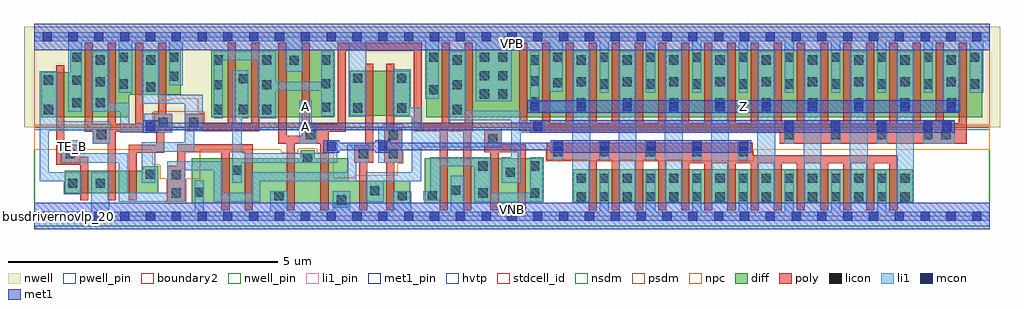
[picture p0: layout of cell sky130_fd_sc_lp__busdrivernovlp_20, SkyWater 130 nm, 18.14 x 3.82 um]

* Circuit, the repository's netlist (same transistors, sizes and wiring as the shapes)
* Copyright 2020 The SkyWater PDK Authors
*
* Licensed under the Apache License, Version 2.0 (the "License");
* you may not use this file except in compliance with the License.
* You may obtain a copy of the License at
*
*     https://www.apache.org/licenses/LICENSE-2.0
*
* Unless required by applicable law or agreed to in writing, software
* distributed under the License is distributed on an "AS IS" BASIS,
* WITHOUT WARRANTIES OR CONDITIONS OF ANY KIND, either express or implied.
* See the License for the specific language governing permissions and
* limitations under the License.
*
* SPDX-License-Identifier: Apache-2.0

.SUBCKT sky130_fd_sc_lp__busdrivernovlp_20 A TE_B VGND VNB VPB VPWR Z
*.PININFO A:I TE_B:I VGND:I VNB:I VPB:I VPWR:I Z:O
MI28 TE TE_B VGND VNB sky130_fd_pr__nfet_01v8 m=1 w=0.42U l=0.15U mult=1 sa=0.265
+ sb=0.265 sd=0.28 area=0.063 perim=1.14
MMN1 Z net89 VGND VNB sky130_fd_pr__nfet_01v8 m=14 w=0.64U l=0.15U mult=1 sa=0.265
+ sb=0.265 sd=0.28 area=0.063 perim=1.14
MI26 net89 TE_B VGND VNB sky130_fd_pr__nfet_01v8 m=2 w=0.84U l=0.15U mult=1 sa=0.265
+ sb=0.265 sd=0.28 area=0.063 perim=1.14
MI25 net89 A VGND VNB sky130_fd_pr__nfet_01v8 m=2 w=0.84U l=0.15U mult=1 sa=0.265
+ sb=0.265 sd=0.28 area=0.063 perim=1.14
MI24 net61 A VGND VNB sky130_fd_pr__nfet_01v8 m=2 w=0.84U l=0.15U mult=1 sa=0.265
+ sb=0.265 sd=0.28 area=0.063 perim=1.14
MI23 net57 net58 net61 VNB sky130_fd_pr__nfet_01v8 m=2 w=0.84U l=0.15U mult=1 sa=0.265
+ sb=0.265 sd=0.28 area=0.063 perim=1.14
MI22 net58 TE_B VGND VNB sky130_fd_pr__nfet_01v8 m=1 w=0.42U l=0.15U mult=1 sa=0.265
+ sb=0.265 sd=0.28 area=0.063 perim=1.14
MI21 net58 net89 VGND VNB sky130_fd_pr__nfet_01v8 m=1 w=0.42U l=0.15U mult=1 sa=0.265
+ sb=0.265 sd=0.28 area=0.063 perim=1.14
MI13 net90 net57 net44 VNB sky130_fd_pr__nfet_01v8 m=1 w=0.42U l=0.15U mult=1 sa=0.265
+ sb=0.265 sd=0.28 area=0.063 perim=1.14
MI14 net44 TE VGND VNB sky130_fd_pr__nfet_01v8 m=1 w=0.42U l=0.15U mult=1 sa=0.265
+ sb=0.265 sd=0.28 area=0.063 perim=1.14
MMP0 Z net57 VPWR VPB sky130_fd_pr__pfet_01v8_hvt m=20 w=1.26U l=0.15U mult=1 sa=0.265
+ sb=0.265 sd=0.28 area=0.063 perim=1.14
MI27 TE TE_B VPWR VPB sky130_fd_pr__pfet_01v8_hvt m=1 w=0.84U l=0.15U mult=1 sa=0.265
+ sb=0.265 sd=0.28 area=0.063 perim=1.14
MI11 net90 net57 VPWR VPB sky130_fd_pr__pfet_01v8_hvt m=1 w=0.84U l=0.15U mult=1
+ sa=0.265 sb=0.265 sd=0.28 area=0.063 perim=1.14
MI20 net58 net89 net100 VPB sky130_fd_pr__pfet_01v8_hvt m=1 w=0.84U l=0.15U mult=1
+ sa=0.265 sb=0.265 sd=0.28 area=0.063 perim=1.14
MI19 net100 TE_B VPWR VPB sky130_fd_pr__pfet_01v8_hvt m=1 w=0.84U l=0.15U mult=1
+ sa=0.265 sb=0.265 sd=0.28 area=0.063 perim=1.14
MI10 net57 A VPWR VPB sky130_fd_pr__pfet_01v8_hvt m=2 w=1.26U l=0.15U mult=1 sa=0.265
+ sb=0.265 sd=0.28 area=0.063 perim=1.14
MI18 net89 net90 net88 VPB sky130_fd_pr__pfet_01v8_hvt m=2 w=1.26U l=0.15U mult=1
+ sa=0.265 sb=0.265 sd=0.28 area=0.063 perim=1.14
MI17 net88 A VPWR VPB sky130_fd_pr__pfet_01v8_hvt m=2 w=1.26U l=0.15U mult=1 sa=0.265
+ sb=0.265 sd=0.28 area=0.063 perim=1.14
MI12 net90 TE VPWR VPB sky130_fd_pr__pfet_01v8_hvt m=1 w=0.84U l=0.15U mult=1 sa=0.265
+ sb=0.265 sd=0.28 area=0.063 perim=1.14
MI9 net57 TE VPWR VPB sky130_fd_pr__pfet_01v8_hvt m=2 w=1.26U l=0.15U mult=1 sa=0.265
+ sb=0.265 sd=0.28 area=0.063 perim=1.14
.ENDS sky130_fd_sc_lp__busdrivernovlp_20

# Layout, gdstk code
import gdstk
lib = gdstk.Library(unit=1e-6, precision=1e-09)
def R(c, l, rs):  # rectangles x0, y0, x1, y1
    for r in rs: c.add(gdstk.rectangle(r[:2], r[2:], *l))
def A(c, l, x, y, w, h, nx, ny, dx, dy):  # array of equal rectangles
    R(c, l, [(x+i*dx, y+j*dy, x+i*dx+w, y+j*dy+h) for i in range(nx) for j in range(ny)])
def P(c, l, *ps):  # polygons
    for p in ps: c.add(gdstk.Polygon(p, *l))
nwell_pin = (64, 16)
nwell = (64, 20)
diff = (65, 20)
poly = (66, 20)
licon = (66, 44)
li1_pin = (67, 16)
li1 = (67, 20)
mcon = (67, 44)
met1_pin = (68, 16)
met1 = (68, 20)
hvtp = (78, 44)
stdcell_id = (81, 4)
nsdm = (93, 44)
psdm = (94, 20)
npc = (95, 20)
pwell_pin = (122, 16)
boundary2 = (236, 0)

sky130_fd_sc_lp__busdriv = lib.new_cell('sky130_fd_sc_lp__busdrivernovlp_20')
R(sky130_fd_sc_lp__busdriv, nwell_pin, [(0,3.085,17.76,3.33)])
R(sky130_fd_sc_lp__busdriv, nwell, [(-0.19,1.655,17.95,3.52), (7.105,1.655,17.8,3.275)])
R(sky130_fd_sc_lp__busdriv, diff, [(7.255,0.235,9.45,1.075), (10.02,0.235,16.33,0.875), (3.29,1.835,5.565,3.095), (7.285,1.835,17.62,3.095), (5.865,1.865,6.975,2.705)])
P(sky130_fd_sc_lp__busdriv, diff, [(2.305,0.925),(2.015,0.925),(2.015,0.845),(0.57,0.845),(0.57,0.425),(2.305,0.425)],
  [(2.725,3.095),(0.665,3.095),(0.665,2.675),(0.135,2.675),(0.135,1.835),(1.765,1.835),(1.765,2.255),(2.725,2.255)],
  [(6.985,0.655),(5.84,0.655),(5.84,1.075),(5.21,1.075),(5.21,1.225),(4.95,1.225),(4.95,1.075),(2.925,1.075),(2.925,0.235),(5.58,0.235),(5.58,0.155),(5.84,0.155),(5.84,0.235),(6.985,0.235)])
P(sky130_fd_sc_lp__busdriv, poly, [(1.005,1.105),(0.835,1.105),(0.835,1.325),(0.555,1.325),(0.555,2.805),(0.405,2.805),(0.405,0.955),(0.855,0.955),(0.855,0.295),(1.005,0.295)],
  [(2.025,3.225),(1.875,3.225),(1.875,1.715),(1.515,1.715),(1.515,3.225),(1.365,3.225),(1.365,1.715),(1.085,1.715),(1.085,3.225),(0.935,3.225),(0.935,1.565),(1.085,1.565),(1.085,1.345),(1.365,1.345),(1.365,0.295),(1.515,0.295),(1.515,1.565),(2.025,1.565)],
  [(2.565,1.905),(2.455,1.905),(2.455,3.225),(2.305,3.225),(2.305,1.905),(2.235,1.905),(2.235,1.575),(2.265,1.575),(2.265,1.325),(1.755,1.325),(1.755,0.295),(1.905,0.295),(1.905,1.175),(2.415,1.175),(2.415,1.575),(2.565,1.575)],
  [(4.06,1.335),(2.655,1.335),(2.655,0.935),(2.475,0.935),(2.475,0.265),(2.805,0.265),(2.805,1.185),(3.48,1.185),(3.48,0.105),(3.63,0.105),(3.63,1.185),(3.91,1.185),(3.91,0.105),(4.06,0.105)],
  [(4.18,3.225),(4.03,3.225),(4.03,1.725),(3.75,1.725),(3.75,3.225),(3.6,3.225),(3.6,1.725),(3.13,1.725),(3.13,1.905),(2.8,1.905),(2.8,1.575),(4.18,1.575)],
  [(6.3,2.835),(6.15,2.835),(6.15,1.325),(5.95,1.325),(5.95,0.995),(6.04,0.995),(6.04,0.105),(6.19,0.105),(6.19,0.995),(6.3,0.995)],
  [(6.84,1.665),(6.69,1.665),(6.69,2.835),(6.54,2.835),(6.54,1.665),(6.51,1.665),(6.51,0.995),(6.54,0.995),(6.54,0.105),(6.69,0.105),(6.69,0.995),(6.84,0.995)],
  [(8.15,3.225),(8,3.225),(8,1.725),(7.72,1.725),(7.72,3.225),(7.57,3.225),(7.57,1.725),(7.2,1.725),(7.2,3.225),(5.64,3.225),(5.64,1.715),(5.12,1.715),(5.12,3.225),(4.97,3.225),(4.97,1.495),(4.69,1.495),(4.69,3.225),(4.54,3.225),(4.54,1.345),(4.69,1.345),(4.69,0.105),(4.84,0.105),(4.84,1.345),(5.32,1.345),(5.32,0.105),(5.47,0.105),(5.47,1.565),(5.79,1.565),(5.79,3.075),(7.05,3.075),(7.05,1.575),(7.54,1.575),(7.54,0.105),(7.69,0.105),(7.69,1.575),(7.97,1.575),(7.97,0.105),(8.12,0.105),(8.12,1.575),(8.15,1.575)],
  [(9.14,1.335),(8.69,1.335),(8.69,1.605),(8.36,1.605),(8.36,1.185),(8.48,1.185),(8.48,0.105),(8.63,0.105),(8.63,1.185),(8.99,1.185),(8.99,0.105),(9.14,0.105)],
  [(16.045,1.135),(13.35,1.135),(13.35,1.365),(9.525,1.365),(9.525,1.035),(10.305,1.035),(10.305,0.105),(10.455,0.105),(10.455,1.035),(10.735,1.035),(10.735,0.105),(10.885,0.105),(10.885,1.035),(11.165,1.035),(11.165,0.105),(11.315,0.105),(11.315,1.035),(11.595,1.035),(11.595,0.105),(11.745,0.105),(11.745,1.035),(12.025,1.035),(12.025,0.105),(12.175,0.105),(12.175,0.985),(12.455,0.985),(12.455,0.105),(12.605,0.105),(12.605,0.985),(12.885,0.985),(12.885,0.105),(13.035,0.105),(13.035,0.985),(13.315,0.985),(13.315,0.105),(13.465,0.105),(13.465,0.985),(13.745,0.985),(13.745,0.105),(13.895,0.105),(13.895,0.985),(14.175,0.985),(14.175,0.105),(14.325,0.105),(14.325,0.985),(14.605,0.985),(14.605,0.105),(14.755,0.105),(14.755,0.985),(15.035,0.985),(15.035,0.105),(15.185,0.105),(15.185,0.985),(15.465,0.985),(15.465,0.105),(15.615,0.105),(15.615,0.985),(15.895,0.985),(15.895,0.105),(16.045,0.105)],
  [(17.335,3.225),(17.185,3.225),(17.185,1.725),(16.905,1.725),(16.905,3.225),(16.755,3.225),(16.755,1.725),(16.475,1.725),(16.475,3.225),(16.325,3.225),(16.325,1.725),(16.045,1.725),(16.045,3.225),(15.895,3.225),(15.895,1.725),(15.615,1.725),(15.615,3.225),(15.465,3.225),(15.465,1.725),(15.185,1.725),(15.185,3.225),(15.035,3.225),(15.035,1.725),(14.755,1.725),(14.755,3.225),(14.605,3.225),(14.605,1.725),(14.325,1.725),(14.325,3.225),(14.175,3.225),(14.175,1.725),(13.895,1.725),(13.895,3.225),(13.745,3.225),(13.745,1.725),(13.465,1.725),(13.465,3.225),(13.315,3.225),(13.315,1.725),(13.035,1.725),(13.035,3.225),(12.885,3.225),(12.885,1.725),(12.605,1.725),(12.605,3.225),(12.455,3.225),(12.455,1.725),(12.175,1.725),(12.175,3.225),(12.025,3.225),(12.025,1.725),(11.745,1.725),(11.745,3.225),(11.595,3.225),(11.595,1.725),(11.315,1.725),(11.315,3.225),(11.165,3.225),(11.165,1.725),(10.885,1.725),(10.885,3.225),(10.735,3.225),(10.735,1.725),(10.455,1.725),(10.455,3.225),(10.305,3.225),(10.305,1.725),(10.025,1.725),(10.025,3.225),(9.875,3.225),(9.875,1.725),(9.595,1.725),(9.595,3.225),(9.445,3.225),(9.445,1.725),(9.165,1.725),(9.165,3.225),(9.015,3.225),(9.015,1.575),(13.86,1.575),(13.86,1.345),(17.335,1.345)])
A(sky130_fd_sc_lp__busdriv, licon, 10.08, 0.275, 0.17, 0.17, 15, 2, 0.43, 0.34)
A(sky130_fd_sc_lp__busdriv, licon, 13.94, 1.425, 0.17, 0.17, 4, 1, 0.86, 0)
A(sky130_fd_sc_lp__busdriv, licon, 3.335, 1.895, 0.17, 0.17, 1, 3, 0, 0.46)
A(sky130_fd_sc_lp__busdriv, licon, 4.235, 1.895, 0.17, 0.17, 1, 3, 0, 0.46)
A(sky130_fd_sc_lp__busdriv, licon, 7.775, 1.895, 0.17, 0.17, 1, 3, 0, 0.46)
A(sky130_fd_sc_lp__busdriv, licon, 5.335, 1.935, 0.17, 0.17, 1, 3, 0, 0.44)
A(sky130_fd_sc_lp__busdriv, licon, 10.08, 2.02, 0.17, 0.17, 9, 2, 0.86, 0.395)
A(sky130_fd_sc_lp__busdriv, licon, 8.285, 2.185, 0.17, 0.17, 1, 3, 0, 0.34)
A(sky130_fd_sc_lp__busdriv, licon, 8.625, 2.185, 0.17, 0.17, 1, 3, 0, 0.34)
A(sky130_fd_sc_lp__busdriv, licon, 10.51, 2.37, 0.17, 0.17, 9, 1, 0.86, 0)
A(sky130_fd_sc_lp__busdriv, licon, 9.22, 2.815, 0.17, 0.17, 10, 1, 0.86, 0)
A(sky130_fd_sc_lp__busdriv, licon, 9.65, 2.865, 0.17, 0.17, 10, 1, 0.86, 0)
R(sky130_fd_sc_lp__busdriv, licon, [(5.625,0.215,5.795,0.385), (4.465,0.295,4.635,0.465), (6.755,0.295,6.925,0.465), (7.315,0.295,7.485,0.465), (2.555,0.345,2.725,0.515), (8.255,0.345,8.425,0.515), (9.22,0.345,9.39,0.515), (2.985,0.355,3.155,0.525), (6.245,0.385,6.415,0.555), (7.745,0.395,7.915,0.565), (0.63,0.525,0.8,0.695), (1.14,0.525,1.31,0.695), (2.555,0.685,2.725,0.855), (2.075,0.695,2.245,0.865), (8.765,0.73,8.935,0.9), (3.685,0.77,3.855,0.94), (8.255,0.845,8.425,1.015), (9.22,0.845,9.39,1.015), (4.995,0.995,5.165,1.165), (0.585,1.075,0.755,1.245), (6.03,1.075,6.2,1.245), (6.59,1.075,6.76,1.245), (9.66,1.115,9.83,1.285), (10.52,1.115,10.69,1.285), (11.36,1.115,11.53,1.285), (12.24,1.115,12.41,1.285), (13.1,1.115,13.27,1.285), (8.44,1.355,8.61,1.525), (6.59,1.415,6.76,1.585), (1.165,1.425,1.335,1.595), (5.05,1.425,5.22,1.595), (16.86,1.425,17.03,1.595), (2.315,1.655,2.485,1.825), (2.88,1.655,3.05,1.825), (0.18,1.895,0.35,2.065), (3.805,1.895,3.975,2.065), (5.925,1.925,6.095,2.095), (6.745,1.925,6.915,2.095), (0.71,2.02,0.88,2.19), (1.14,2.02,1.31,2.19), (9.22,2.04,9.39,2.21), (7.345,2.265,7.515,2.435), (2.08,2.315,2.25,2.485), (1.57,2.37,1.74,2.54), (9.65,2.39,9.82,2.56), (1.14,2.415,1.31,2.585), (9.22,2.425,9.39,2.595), (0.71,2.44,0.88,2.61), (0.18,2.445,0.35,2.615), (3.805,2.465,3.975,2.635), (5.925,2.475,6.095,2.645), (6.745,2.475,6.915,2.645), (2.51,2.515,2.68,2.685), (4.745,2.81,4.915,2.98), (1.14,2.815,1.31,2.985), (2.08,2.815,2.25,2.985), (0.71,2.865,0.88,3.035), (1.57,2.865,1.74,3.035), (2.51,2.865,2.68,3.035), (7.345,2.865,7.515,3.035)])
R(sky130_fd_sc_lp__busdriv, li1_pin, [(0.635,1.21,0.805,1.38), (4.955,1.58,5.125,1.75), (4.955,1.95,5.125,2.12)])
A(sky130_fd_sc_lp__busdriv, li1, 10.51, 0.025, 0.17, 0.84, 7, 1, 0.86, 0)
A(sky130_fd_sc_lp__busdriv, li1, 10, 0.255, 0.33, 1.855, 6, 1, 0.86, 0)
A(sky130_fd_sc_lp__busdriv, li1, 9.64, 1.035, 0.19, 0.375, 4, 1, 0.86, 0)
A(sky130_fd_sc_lp__busdriv, li1, 13.94, 1.345, 0.19, 0.415, 3, 1, 0.86, 0)
A(sky130_fd_sc_lp__busdriv, li1, 10.86, 1.94, 0.33, 1.125, 8, 1, 0.86, 0)
R(sky130_fd_sc_lp__busdriv, li1, [(16.02,0.255,16.35,2.11), (15.16,0.26,15.49,2.11), (6.395,0.995,6.84,1.665), (10.5,1.035,10.69,1.405), (12.22,1.035,12.41,1.41), (13.08,1.035,13.27,1.41), (16.52,1.345,17.11,1.76), (16.88,1.94,17.21,2.11)])
P(sky130_fd_sc_lp__busdriv, li1, [(9.475,1.78),(9.04,1.78),(9.04,1.955),(8.025,1.955),(8.025,3.065),(7.695,3.065),(7.695,1.785),(8.87,1.785),(8.87,1.095),(8.685,1.095),(8.685,0.615),(9.04,0.615),(9.04,1.55),(9.475,1.55)],
  [(17.39,2.29),(17.39,3.245),(16.7,3.245),(16.7,2.29),(16.53,2.29),(16.53,3.245),(15.84,3.245),(15.84,2.29),(15.67,2.29),(15.67,3.245),(14.98,3.245),(14.98,2.29),(14.81,2.29),(14.81,3.245),(14.12,3.245),(14.12,2.29),(13.95,2.29),(13.95,3.245),(13.26,3.245),(13.26,2.29),(13.09,2.29),(13.09,3.245),(12.4,3.245),(12.4,2.29),(12.23,2.29),(12.23,3.245),(11.54,3.245),(11.54,2.29),(11.37,2.29),(11.37,3.245),(10.68,3.245),(10.68,2.29),(10.51,2.29),(10.51,3.245),(9.82,3.245),(9.82,2.31),(9.57,2.31),(9.57,3.245),(8.875,3.245),(8.875,2.135),(8.205,2.135),(8.205,3.245),(7.515,3.245),(7.515,2.185),(7.265,2.185),(7.265,3.245),(6.175,3.245),(6.175,1.845),(5.845,1.845),(5.845,3.245),(4.995,3.245),(4.995,2.68),(4.665,2.68),(4.665,3.245),(2.76,3.245),(2.76,2.435),(2.51,2.435),(2.51,3.245),(1.82,3.245),(1.82,2.29),(1.57,2.29),(1.57,3.245),(0.88,3.245),(0.88,1.94),(0.63,1.94),(0.63,3.245),(0,3.245),(0,3.415),(17.76,3.415),(17.76,3.245),(17.64,3.245),(17.64,2.29)],
  [(17.76,0.085),(7.995,0.085),(7.995,0.745),(7.745,0.745),(7.745,0.085),(7.005,0.085),(7.005,0.465),(6.675,0.465),(6.675,0.085),(5.875,0.085),(5.875,0.465),(5.545,0.465),(5.545,0.085),(4.715,0.085),(4.715,0.465),(4.385,0.465),(4.385,0.085),(3.155,0.085),(3.155,0.67),(2.985,0.67),(2.985,0.085),(1.39,0.085),(1.39,0.815),(1.06,0.815),(1.06,0.085),(0,0.085),(0,-0.085),(17.76,-0.085)],
  [(0.1,2.695),(0.43,2.695),(0.43,1.76),(1.415,1.76),(1.415,1.345),(1.085,1.345),(1.085,1.59),(0.27,1.59),(0.27,0.815),(0.88,0.815),(0.88,0.405),(0.55,0.405),(0.55,0.645),(0.1,0.645)],
  [(2.045,1.72),(2.045,1.905),(2.565,1.905),(2.565,1.55),(1.595,1.55),(1.595,1.94),(1.06,1.94),(1.06,3.065),(1.39,3.065),(1.39,2.11),(1.765,2.11),(1.765,1.72)],
  [(5.155,1.675),(5.255,1.675),(5.255,1.345),(4.925,1.345),(4.925,2.15),(5.155,2.15)],
  [(0.505,0.995),(0.505,1.41),(0.835,1.41),(0.835,1.165),(1.74,1.165),(1.74,0.435),(2.475,0.435),(2.475,1.02),(3.505,1.02),(3.505,0.435),(4.035,0.435),(4.035,0.815),(5.815,0.815),(5.815,1.325),(6.215,1.325),(6.215,0.995),(5.985,0.995),(5.985,0.645),(4.205,0.645),(4.205,0.265),(3.335,0.265),(3.335,0.85),(2.805,0.85),(2.805,0.265),(1.57,0.265),(1.57,0.995)],
  [(3.855,0.995),(3.855,0.615),(3.685,0.615),(3.685,2.715),(3.975,2.715),(3.975,1.815),(3.855,1.815),(3.855,1.165),(5.435,1.165),(5.435,1.41),(5.635,1.41),(5.635,0.995)],
  [(1.995,0.615),(1.995,1.37),(2.8,1.37),(2.8,2.085),(2,2.085),(2,3.065),(2.33,3.065),(2.33,2.255),(3.13,2.255),(3.13,1.575),(2.97,1.575),(2.97,1.2),(2.245,1.2),(2.245,0.615)],
  [(7.19,1.605),(8.69,1.605),(8.69,1.275),(7.19,1.275),(7.19,0.645),(6.495,0.645),(6.495,0.265),(6.165,0.265),(6.165,0.815),(7.02,0.815),(7.02,1.845),(6.665,1.845),(6.665,2.725),(6.995,2.725),(6.995,2.015),(7.19,2.015)],
  [(4.485,2.5),(5.335,2.5),(5.335,3.065),(5.585,3.065),(5.585,1.855),(5.335,1.855),(5.335,2.33),(4.485,2.33),(4.485,1.815),(4.155,1.815),(4.155,2.895),(3.505,2.895),(3.505,1.815),(3.335,1.815),(3.335,3.065),(4.485,3.065)],
  [(8.505,0.435),(9.22,0.435),(9.22,1.095),(9.47,1.095),(9.47,0.265),(8.175,0.265),(8.175,0.925),(7.565,0.925),(7.565,0.295),(7.235,0.295),(7.235,0.465),(7.36,0.465),(7.36,1.095),(8.505,1.095)],
  [(10.33,3.065),(10,3.065),(10,2.13),(9.39,2.13),(9.39,3.065),(9.22,3.065),(9.22,1.95),(10,1.95),(10,1.94),(10.33,1.94)])
A(sky130_fd_sc_lp__busdriv, mcon, 0.155, -0.085, 0.17, 0.17, 37, 2, 0.48, 3.33)
A(sky130_fd_sc_lp__busdriv, mcon, 9.66, 1.21, 0.17, 0.17, 5, 1, 0.86, 0)
A(sky130_fd_sc_lp__busdriv, mcon, 13.94, 1.58, 0.17, 0.17, 4, 1, 0.86, 0)
A(sky130_fd_sc_lp__busdriv, mcon, 9.22, 1.95, 0.17, 0.17, 10, 1, 0.86, 0)
R(sky130_fd_sc_lp__busdriv, mcon, [(5.435,1.21,5.605,1.38), (6.395,1.21,6.565,1.38), (2.075,1.58,2.245,1.75), (9.275,1.58,9.445,1.75), (16.88,1.58,17.05,1.75)])
R(sky130_fd_sc_lp__busdriv, met1_pin, [(0,0,17.76,0.245), (9.16,1.92,17.19,2.15), (0,3.085,17.76,3.33)])
R(sky130_fd_sc_lp__busdriv, met1, [(0,-0.245,17.76,0.245), (9.16,1.92,17.19,2.15), (0,3.085,17.76,3.575)])
P(sky130_fd_sc_lp__busdriv, met1, [(2.305,1.735),(9.215,1.735),(9.215,1.78),(17.11,1.78),(17.11,1.55),(9.215,1.55),(9.215,1.595),(2.305,1.595),(2.305,1.55),(2.015,1.55),(2.015,1.78),(2.305,1.78)],
  [(6.625,1.365),(9.6,1.365),(9.6,1.41),(13.33,1.41),(13.33,1.18),(9.6,1.18),(9.6,1.225),(6.625,1.225),(6.625,1.18),(6.335,1.18),(6.335,1.225),(5.665,1.225),(5.665,1.18),(5.375,1.18),(5.375,1.41),(5.665,1.41),(5.665,1.365),(6.335,1.365),(6.335,1.41),(6.625,1.41)])
R(sky130_fd_sc_lp__busdriv, hvtp, [(0,1.6,17.76,3.33)])
R(sky130_fd_sc_lp__busdriv, stdcell_id, [(0,0,17.76,3.33)])
R(sky130_fd_sc_lp__busdriv, nsdm, [(0,-0.19,17.76,1.655)])
P(sky130_fd_sc_lp__busdriv, psdm, [(17.76,3.52),(0,3.52),(0,1.655),(1.055,1.655),(1.055,1.705),(1.445,1.705),(1.445,1.655),(2.205,1.655),(2.205,1.935),(3.16,1.935),(3.16,1.655),(4.94,1.655),(4.94,1.705),(5.33,1.705),(5.33,1.655),(6.48,1.655),(6.48,1.695),(6.87,1.695),(6.87,1.655),(13.125,1.655),(13.125,1.705),(17.255,1.705),(17.255,1.655),(17.76,1.655)])
P(sky130_fd_sc_lp__busdriv, npc, [(17.76,1.695),(7.18,1.695),(7.18,1.725),(5.705,1.725),(5.705,1.695),(3.15,1.695),(3.15,1.925),(3.045,1.925),(3.045,2.19),(2.545,2.19),(2.545,2.165),(2.32,2.165),(2.32,1.925),(2.215,1.925),(2.215,1.73),(1.905,1.73),(1.905,1.695),(0,1.695),(0,1.23),(0.485,1.23),(0.485,0.975),(0.855,0.975),(0.855,1.23),(2.19,1.23),(2.19,0.955),(2.335,0.955),(2.335,0.69),(2.455,0.69),(2.455,0.225),(2.825,0.225),(2.825,0.69),(3.09,0.69),(3.09,1.23),(4.595,1.23),(4.595,1.165),(4.905,1.165),(4.905,1.255),(5.255,1.255),(5.255,1.165),(5.56,1.165),(5.56,0.7),(5.95,0.7),(5.95,0.745),(6.755,0.745),(6.755,0.975),(6.86,0.975),(6.86,1.23),(9.505,1.23),(9.505,1.015),(13.37,1.015),(13.37,1.23),(17.76,1.23)])
R(sky130_fd_sc_lp__busdriv, pwell_pin, [(0,0,17.76,0.245)])
R(sky130_fd_sc_lp__busdriv, boundary2, [(0,0,17.76,3.33)])
sky130_fd_sc_lp__busdriv.add(gdstk.Label('VNB', (8.88,0.123), layer=64, texttype=59))
sky130_fd_sc_lp__busdriv.add(gdstk.Label('VPB', (8.88,3.208), layer=64, texttype=5))
sky130_fd_sc_lp__busdriv.add(gdstk.Label('busdrivernovlp_20', (0,0), layer=83, texttype=44))
sky130_fd_sc_lp__busdriv.add(gdstk.Label('Z', (13.175,2.035), layer=68, texttype=5))
sky130_fd_sc_lp__busdriv.add(gdstk.Label('VPWR', (8.88,3.208), layer=68, texttype=5))
sky130_fd_sc_lp__busdriv.add(gdstk.Label('VGND', (8.88,0.123), layer=68, texttype=5))
sky130_fd_sc_lp__busdriv.add(gdstk.Label('A', (5.04,2.035), layer=67, texttype=5))
sky130_fd_sc_lp__busdriv.add(gdstk.Label('TE_B', (0.72,1.295), layer=67, texttype=5))
sky130_fd_sc_lp__busdriv.add(gdstk.Label('A', (5.04,1.665), layer=67, texttype=5))

lib.write_gds('sky130_fd_sc_lp__busdrivernovlp_20.gds')
